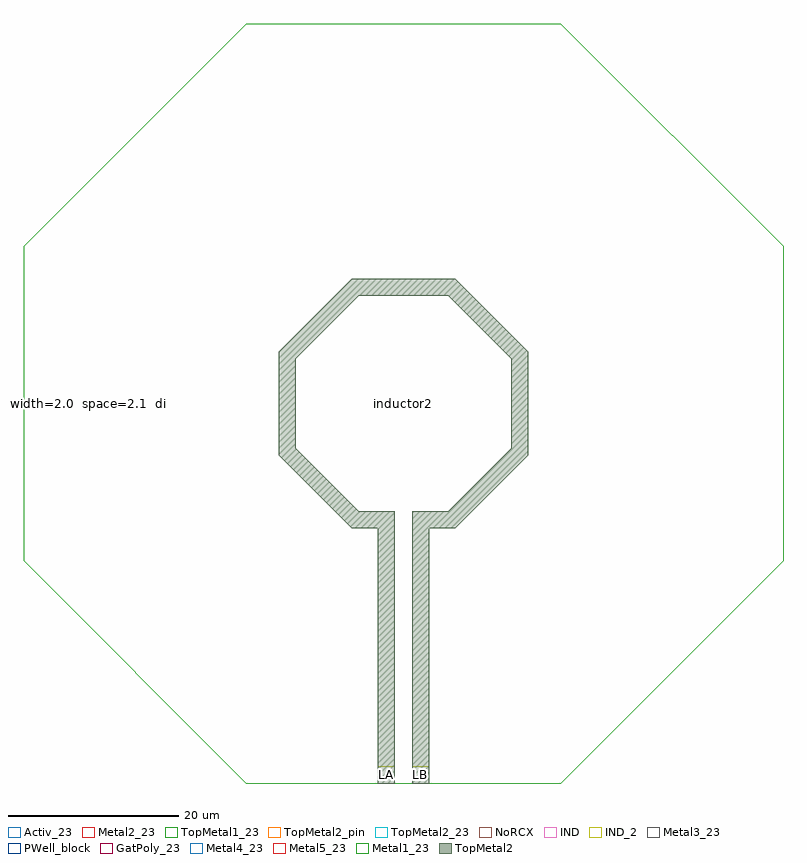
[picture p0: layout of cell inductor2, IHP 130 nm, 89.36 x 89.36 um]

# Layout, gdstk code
import gdstk
lib = gdstk.Library(unit=1e-6, precision=1e-09)
def R(c, l, rs):  # rectangles x0, y0, x1, y1
    for r in rs: c.add(gdstk.rectangle(r[:2], r[2:], *l))
def P(c, l, *ps):  # polygons
    for p in ps: c.add(gdstk.Polygon(p, *l))
Activ_23 = (1, 23)
GatPoly_23 = (5, 23)
Metal1_23 = (8, 23)
Metal2_23 = (10, 23)
IND = (27, 0)
IND_2 = (27, 2)
Metal3_23 = (30, 23)
PWell_block = (46, 21)
Metal4_23 = (50, 23)
Metal5_23 = (67, 23)
TopMetal1_23 = (126, 23)
TopMetal2 = (134, 0)
TopMetal2_pin = (134, 2)
TopMetal2_23 = (134, 23)
NoRCX = (148, 0)

inductor2 = lib.new_cell('inductor2')
P(inductor2, Activ_23, [(-18.505,0),(-44.68,26.175),(-44.68,63.185),(-18.505,89.36),(18.505,89.36),(44.68,63.185),(44.68,26.175),(18.505,0)])
P(inductor2, GatPoly_23, [(-18.505,0),(-44.68,26.175),(-44.68,63.185),(-18.505,89.36),(18.505,89.36),(44.68,63.185),(44.68,26.175),(18.505,0)])
P(inductor2, Metal1_23, [(-18.505,0),(-44.68,26.175),(-44.68,63.185),(-18.505,89.36),(18.505,89.36),(44.68,63.185),(44.68,26.175),(18.505,0)])
P(inductor2, Metal2_23, [(-18.505,0),(-44.68,26.175),(-44.68,63.185),(-18.505,89.36),(18.505,89.36),(44.68,63.185),(44.68,26.175),(18.505,0)])
P(inductor2, IND, [(-18.505,0),(-44.68,26.175),(-44.68,63.185),(-18.505,89.36),(18.505,89.36),(44.68,63.185),(44.68,26.175),(18.505,0)])
R(inductor2, IND_2, [(-3.05,0,-1.05,2), (1.05,0,3.05,2)])
P(inductor2, Metal3_23, [(-18.505,0),(-44.68,26.175),(-44.68,63.185),(-18.505,89.36),(18.505,89.36),(44.68,63.185),(44.68,26.175),(18.505,0)])
P(inductor2, PWell_block, [(-18.505,0),(-44.68,26.175),(-44.68,63.185),(-18.505,89.36),(18.505,89.36),(44.68,63.185),(44.68,26.175),(18.505,0)])
P(inductor2, Metal4_23, [(-18.505,0),(-44.68,26.175),(-44.68,63.185),(-18.505,89.36),(18.505,89.36),(44.68,63.185),(44.68,26.175),(18.505,0)])
P(inductor2, Metal5_23, [(-18.505,0),(-44.68,26.175),(-44.68,63.185),(-18.505,89.36),(18.505,89.36),(44.68,63.185),(44.68,26.175),(18.505,0)])
P(inductor2, TopMetal1_23, [(-18.505,0),(-44.68,26.175),(-44.68,63.185),(-18.505,89.36),(18.505,89.36),(44.68,63.185),(44.68,26.175),(18.505,0)])
R(inductor2, TopMetal2, [(-3.34,57.35,3.34,59.35)])
P(inductor2, TopMetal2, [(-6.08,30),(-14.675,38.595),(-14.675,50.755),(-6.08,59.35),(-3.34,59.35),(-3.34,57.35),(-5.25,57.35),(-12.675,49.925),(-12.675,39.425),(-5.25,32),(-1.05,32),(-1.05,30)],
  [(1.05,30),(1.05,32),(5.25,32),(12.675,39.425),(12.675,49.925),(5.25,57.35),(3.34,57.35),(3.34,59.35),(6.08,59.35),(14.675,50.755),(14.675,38.595),(6.08,30)])
R(inductor2, TopMetal2_pin, [(-3.05,0,-1.05,2), (1.05,0,3.05,2)])
P(inductor2, TopMetal2_23, [(-18.505,0),(-44.68,26.175),(-44.68,63.185),(-18.505,89.36),(18.505,89.36),(44.68,63.185),(44.68,26.175),(18.505,0)])
P(inductor2, NoRCX, [(-18.505,0),(-44.68,26.175),(-44.68,63.185),(-18.505,89.36),(18.505,89.36),(44.68,63.185),(44.68,26.175),(18.505,0)])
inductor2.add(gdstk.FlexPath([(-2.05,0),(-2.05,32)], 2, ends="flush", simple_path=True, layer=134, datatype=0))  # TopMetal2
inductor2.add(gdstk.FlexPath([(2.05,0),(2.05,32)], 2, ends="flush", simple_path=True, layer=134, datatype=0))  # TopMetal2
inductor2.add(gdstk.Label('  width=2.0\n  space=2.1\n  diameter=25.35\n  turns=1', (-42.68,44.68), layer=63, texttype=0))
inductor2.add(gdstk.Label('inductor2', (0,44.715), layer=63, texttype=0))
inductor2.add(gdstk.Label('LA', (-2.05,1), layer=27, texttype=25))
inductor2.add(gdstk.Label('LB', (2.05,1), layer=27, texttype=25))

lib.write_gds('inductor2.gds')
